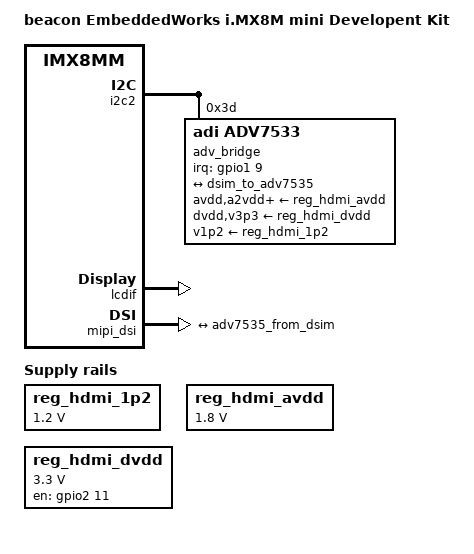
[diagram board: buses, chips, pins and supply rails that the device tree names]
// SPDX-License-Identifier: (GPL-2.0 OR MIT)
/*
 * Copyright 2020 Compass Electronics Group, LLC
 */

/dts-v1/;

#include "fsl-imx8mm.dtsi"
#include "beacon-imx8mm-som.dtsi"
#include "beacon-imx8mm-baseboard.dtsi"

/ {
	model = "beacon EmbeddedWorks i.MX8M mini Developent Kit";
	compatible = "fsl,imx8mm";

	chosen {
		stdout-path = &uart2;
	};

	reg_hdmi_1p2: regulator-hdmi-avdd {
		compatible = "regulator-fixed";
		regulator-name = "hdmi_v1p2";
		regulator-min-microvolt = <1200000>;
		regulator-max-microvolt = <1200000>;
	};

	reg_hdmi_avdd: regulator-hdmi-avdd {
		compatible = "regulator-fixed";
		regulator-name = "hdmi_avdd";
		regulator-min-microvolt = <1800000>;
		regulator-max-microvolt = <1800000>;
	};

	reg_hdmi_dvdd: regulator-hdmi-dvdd {
		pinctrl-names = "default";
		pinctrl-0 = <&pinctrl_hdmi>;
		compatible = "regulator-fixed";
		regulator-name = "hdmi_pwr_en";
		regulator-min-microvolt = <3300000>;
		regulator-max-microvolt = <3300000>;
		gpio = <&gpio2 11 GPIO_ACTIVE_HIGH>;
		enable-active-high;
		startup-delay-us = <70000>;
	};
};

&i2c2 {
	adv_bridge: adv7535@3d {
		compatible = "adi,adv7533";
		reg = <0x3d>;
		avdd-supply = <&reg_hdmi_avdd>;
		a2vdd-supply = <&reg_hdmi_avdd>;
		dvdd-supply = <&reg_hdmi_dvdd>;
		pvdd-supply = <&reg_hdmi_avdd>;
		v1p2-supply = <&reg_hdmi_1p2>;
		v3p3-supply = <&reg_hdmi_dvdd>;
		adi,addr-cec = <0x3b>;
		adi,dsi-lanes = <4>;
		pinctrl-names = "default";
		pinctrl-0 = <&pinctrl_synaptics_dsx_io>;
		interrupt-parent = <&gpio1>;
		interrupts = <9 IRQ_TYPE_LEVEL_LOW>;
		status = "okay";

		port {
			adv7535_from_dsim: endpoint {
				remote-endpoint = <&dsim_to_adv7535>;
			};
		};
	};
};

&lcdif {
	status = "okay";
};

&mipi_dsi {
	status = "okay";

	port@1 {
		dsim_to_adv7535: endpoint {
			remote-endpoint = <&adv7535_from_dsim>;
		};
	};
};

&iomuxc {
	pinctrl_hdmi: lvdsgrp {
		fsl,pins = <
			MX8MM_IOMUXC_SD1_STROBE_GPIO2_IO11              0x16
		>;
	};

	pinctrl_synaptics_dsx_io: synaptics_dsx_iogrp {
		fsl,pins = <
			MX8MM_IOMUXC_GPIO1_IO09_GPIO1_IO9		0x19
		>;
	};
};
